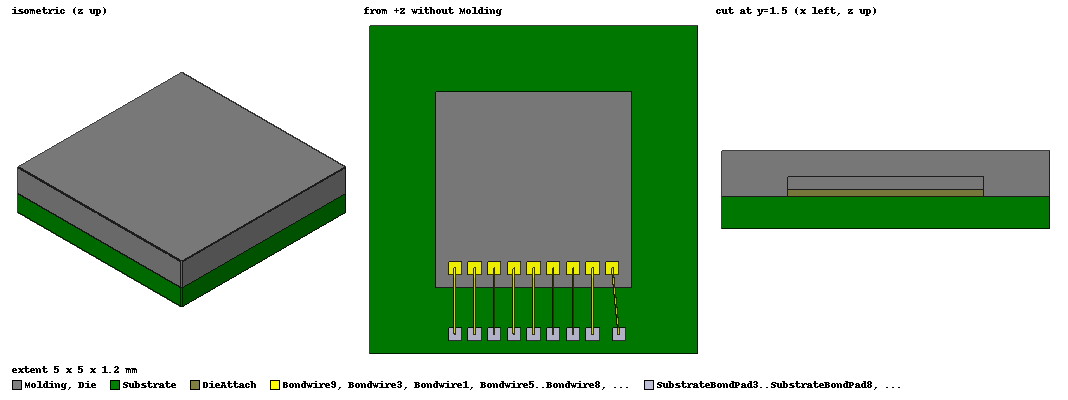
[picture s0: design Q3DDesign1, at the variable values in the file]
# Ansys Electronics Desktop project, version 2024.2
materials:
  vacuum: permittivity=1
  copper: permeability=0.999991 conductivity=58000000
  silicon: permittivity=11.9
  FR4_epoxy: permittivity=4.4 dielectric_loss_tangent=0.02
  modified_epoxy: permittivity=4.2 dielectric_loss_tangent=0.02
  gold: permeability=0.99996 conductivity=41000000
  epoxy_Kevlar_xy: permittivity=3.6

design Q3DDesign1 (Q3D Extractor, model units mm)
options: SParamCalcMethod=EqTransLine Calculate_Lossy_Dielectrics
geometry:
  Die [silicon] = rectangle(corner=(0mm, 0mm, 0mm), x_size=3mm, y_size=3mm)
  Die.thicken(0.2mm)
  DieAttach [modified_epoxy] = rectangle(corner=(0mm, 0mm, 0mm), x_size=3mm, y_size=3mm)
  DieAttach.thicken(-0.1mm)
  Substrate [FR4_epoxy] = rectangle(corner=(-1mm, -1mm, -0.1mm), x_size=5mm, y_size=5mm)
  Substrate.thicken(-0.5mm)
  DieBondpad [copper] = rectangle(corner=(0.2mm, 0.2mm, 0.2mm), x_size=0.2mm, y_size=0.2mm)
  DieBondpad.thicken(0.005mm)
  SubstrateBondPad [copper] = rectangle(corner=(0.2mm, -0.8mm, -0.1mm), x_size=0.2mm, y_size=0.2mm)
  DieBondpad2 [copper] = rectangle(corner=(0.5mm, 0.2mm, 0.2mm), x_size=0.2mm, y_size=0.2mm)
  SubstrateBondPad1 [copper] = rectangle(corner=(0.5mm, -0.8mm, -0.1mm), x_size=0.2mm, y_size=0.2mm)
  Bondwire1 [gold] = bondwire(WireType=JEDEC_4Points WireDiameter=0.025mm NumSides=6 XPadPos=0.3mm YPadPos=0.3mm ZPadPos=0.205mm XDir=-5.5511151e-17mm YDir=-1mm ZDir=0mm Distance=1mm h1=0.2mm h2=0.305mm alpha=80deg beta=0 WhichAxis=Z)
  Bondwire2 [gold] = bondwire(WireType=JEDEC_4Points WireDiameter=0.025mm NumSides=6 XPadPos=0.6mm YPadPos=0.3mm ZPadPos=0.2mm XDir=-1.110223e-16mm YDir=-1mm ZDir=0mm Distance=1mm h1=0.2mm h2=0.3mm alpha=80deg beta=0 WhichAxis=Z)
  DieBondpad2.thicken(0.005mm)
  Molding [epoxy_Kevlar_xy] = rectangle(corner=(-1mm, -1mm, -0.1mm), x_size=5mm, y_size=5mm)
  Molding.thicken(0.7mm)
  DieBondpad3 [copper] = rectangle(corner=(0.8mm, 0.2mm, 0.2mm), x_size=0.2mm, y_size=0.2mm)
  DieBondpad3.thicken(0.005mm)
  DieBondpad4 [copper] = rectangle(corner=(1.1mm, 0.2mm, 0.2mm), x_size=0.2mm, y_size=0.2mm)
  DieBondpad4.thicken(0.005mm)
  DieBondpad5 [copper] = rectangle(corner=(1.4mm, 0.2mm, 0.2mm), x_size=0.2mm, y_size=0.2mm)
  DieBondpad5.thicken(0.005mm)
  DieBondpad6 [copper] = rectangle(corner=(1.7mm, 0.2mm, 0.2mm), x_size=0.2mm, y_size=0.2mm)
  DieBondpad6.thicken(0.005mm)
  DieBondpad7 [copper] = rectangle(corner=(2mm, 0.2mm, 0.2mm), x_size=0.2mm, y_size=0.2mm)
  DieBondpad7.thicken(0.005mm)
  DieBondpad8 [copper] = rectangle(corner=(2.3mm, 0.2mm, 0.2mm), x_size=0.2mm, y_size=0.2mm)
  DieBondpad8.thicken(0.005mm)
  DieBondpad9 [copper] = rectangle(corner=(2.6mm, 0.2mm, 0.2mm), x_size=0.2mm, y_size=0.2mm)
  DieBondpad9.thicken(0.005mm)
  SubstrateBondPad2 [copper] = rectangle(corner=(0.8mm, -0.8mm, -0.1mm), x_size=0.2mm, y_size=0.2mm)
  SubstrateBondPad3 [copper] = rectangle(corner=(1.1mm, -0.8mm, -0.1mm), x_size=0.2mm, y_size=0.2mm)
  SubstrateBondPad4 [copper] = rectangle(corner=(1.4mm, -0.8mm, -0.1mm), x_size=0.2mm, y_size=0.2mm)
  SubstrateBondPad5 [copper] = rectangle(corner=(1.7mm, -0.8mm, -0.1mm), x_size=0.2mm, y_size=0.2mm)
  SubstrateBondPad6 [copper] = rectangle(corner=(2mm, -0.8mm, -0.1mm), x_size=0.2mm, y_size=0.2mm)
  SubstrateBondPad7 [copper] = rectangle(corner=(2.3mm, -0.8mm, -0.1mm), x_size=0.2mm, y_size=0.2mm)
  SubstrateBondPad8 [copper] = rectangle(corner=(2.7mm, -0.8mm, -0.1mm), x_size=0.2mm, y_size=0.2mm)
  Bondwire3 [gold] = bondwire(WireType=JEDEC_4Points WireDiameter=0.025mm NumSides=6 XPadPos=0.9mm YPadPos=0.3mm ZPadPos=0.205mm XDir=0mm YDir=-1mm ZDir=0mm Distance=1mm h1=0.2mm h2=0.305mm alpha=80deg beta=0 WhichAxis=Z)
  Bondwire5 [gold] = bondwire(WireType=JEDEC_4Points WireDiameter=0.025mm NumSides=6 XPadPos=1.5mm YPadPos=0.3mm ZPadPos=0.205mm XDir=0mm YDir=-1mm ZDir=0mm Distance=1mm h1=0.2mm h2=0.305mm alpha=80deg beta=0 WhichAxis=Z)
  Bondwire6 [gold] = bondwire(WireType=JEDEC_4Points WireDiameter=0.025mm NumSides=6 XPadPos=1.8mm YPadPos=0.3mm ZPadPos=0.205mm XDir=0mm YDir=-1mm ZDir=0mm Distance=1mm h1=0.2mm h2=0.305mm alpha=80deg beta=0 WhichAxis=Z)
  Bondwire7 [gold] = bondwire(WireType=JEDEC_4Points WireDiameter=0.025mm NumSides=6 XPadPos=2.1mm YPadPos=0.3mm ZPadPos=0.205mm XDir=0mm YDir=-1mm ZDir=0mm Distance=1mm h1=0.2mm h2=0.305mm alpha=80deg beta=0 WhichAxis=Z)
  Bondwire8 [gold] = bondwire(WireType=JEDEC_4Points WireDiameter=0.025mm NumSides=6 XPadPos=2.4mm YPadPos=0.3mm ZPadPos=0.205mm XDir=0mm YDir=-1mm ZDir=0mm Distance=1mm h1=0.2mm h2=0.305mm alpha=80deg beta=0 WhichAxis=Z)
  Bondwire9 [gold] = bondwire(WireType=JEDEC_4Points WireDiameter=0.025mm NumSides=6 XPadPos=2.7mm YPadPos=0.3mm ZPadPos=0.205mm XDir=0.1mm YDir=-1mm ZDir=0mm Distance=1.0049876mm h1=0.2mm h2=0.305mm alpha=80deg beta=0 WhichAxis=Z)
  Bondwire10 [gold] = bondwire(WireType=JEDEC_4Points WireDiameter=0.025mm NumSides=6 XPadPos=1.2mm YPadPos=0.3mm ZPadPos=0.205mm XDir=0mm YDir=-1mm ZDir=0mm Distance=1mm h1=0.2mm h2=0.305mm alpha=80deg beta=0 WhichAxis=Z)
